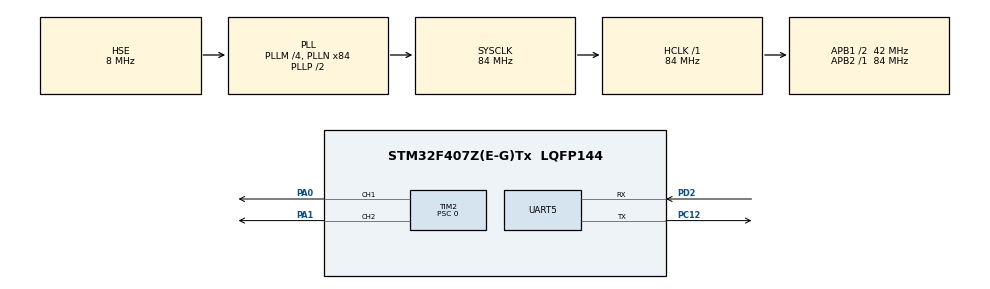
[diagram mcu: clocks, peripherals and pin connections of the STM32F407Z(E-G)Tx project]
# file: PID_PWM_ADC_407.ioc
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Mcu.Family=STM32F4
Mcu.Name=STM32F407Z(E-G)Tx
Mcu.Package=LQFP144
NVIC.PriorityGroup=NVIC_PRIORITYGROUP_4
NVIC.UART5_IRQn=true\:0\:0\:false\:false\:true\:true\:true
PA0-WKUP.Signal=S_TIM2_CH1_ETR
PA1.Signal=S_TIM2_CH2
PC12.Mode=Asynchronous
PC12.Signal=UART5_TX
PD2.Mode=Asynchronous
PD2.Signal=UART5_RX
PH0-OSC_IN.Mode=HSE-External-Oscillator
PH0-OSC_IN.Signal=RCC_OSC_IN
PH1-OSC_OUT.Mode=HSE-External-Oscillator
PH1-OSC_OUT.Signal=RCC_OSC_OUT
ProjectManager.HeapSize=0x200
ProjectManager.StackSize=0x400
ProjectManager.TargetToolchain=MDK-ARM V5
RCC.48MHZClocksFreq_Value=42000000
RCC.AHBFreq_Value=84000000
RCC.APB1CLKDivider=RCC_HCLK_DIV2
RCC.APB1Freq_Value=42000000
RCC.APB1TimFreq_Value=84000000
RCC.APB2Freq_Value=84000000
RCC.APB2TimFreq_Value=84000000
RCC.CortexFreq_Value=84000000
RCC.HCLKFreq_Value=84000000
RCC.HSE_VALUE=8000000
RCC.HSI_VALUE=16000000
RCC.LSE_VALUE=32768
RCC.PLLM=4
RCC.PLLN=84
RCC.PLLSourceVirtual=RCC_PLLSOURCE_HSE
RCC.SYSCLKFreq_VALUE=84000000
RCC.SYSCLKSource=RCC_SYSCLKSOURCE_PLLCLK
RCC.VCOOutputFreq_Value=168000000
SH.S_TIM2_CH1_ETR.0=TIM2_CH1,PWM Generation1 CH1
SH.S_TIM2_CH2.0=TIM2_CH2,PWM Generation2 CH2
TIM2.AutoReloadPreload=TIM_AUTORELOAD_PRELOAD_ENABLE
TIM2.Channel-PWM\ Generation1\ CH1=TIM_CHANNEL_1
TIM2.Channel-PWM\ Generation2\ CH2=TIM_CHANNEL_2
TIM2.OCFastMode_PWM-PWM\ Generation2\ CH2=TIM_OCFAST_DISABLE
TIM2.Period=4199
TIM2.Prescaler=0
TIM2.Pulse-PWM\ Generation1\ CH1=2099
TIM2.Pulse-PWM\ Generation2\ CH2=2099
UART5.VirtualMode=Asynchronous
VP_TIM2_VS_ClockSourceINT.Mode=Internal
board=custom

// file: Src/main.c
/* USER CODE BEGIN Header */
/**
  ******************************************************************************
  * @file           : main.c
  * @brief          : Main program body
  ******************************************************************************
  * @attention
  *
  * <h2><center>&copy; Copyright (c) 2021 STMicroelectronics.
  * All rights reserved.</center></h2>
  *
  * This software component is licensed by ST under BSD 3-Clause license,
  * the "License"; You may not use this file except in compliance with the
  * License. You may obtain a copy of the License at:
  *                        opensource.org/licenses/BSD-3-Clause
  *
  ******************************************************************************
  */
/* USER CODE END Header */

#include "main.h"
#include "tim.h"
#include "usart.h"
#include "gpio.h"

void SystemClock_Config(void);

/* USER CODE BEGIN 0 */

#include <string.h>

#define RXBUFFERSIZE 256     //最大接收字节数
char RxBuffer[256];    //接收数据
uint8_t aRxBuffer;			//接收中断缓冲
uint8_t Uart1_Rx_Cnt = 0;		//接收缓冲计数

uint8_t freq_data[2]={0x08,0x33};
uint32_t freq_out;
/* USER CODE END 0 */

int main(void)
{

  /* MCU Configuration--------------------------------------------------------*/

  /* Reset of all peripherals, Initializes the Flash interface and the Systick. */
  HAL_Init();

  /* Configure the system clock */
  SystemClock_Config();

  /* Initialize all configured peripherals */
  MX_GPIO_Init();
  MX_UART5_Init();
  MX_TIM2_Init();
  /* USER CODE BEGIN 2 */
	HAL_TIM_PWM_Start(&htim2,TIM_CHANNEL_2);
	HAL_TIM_PWM_Start(&htim2,TIM_CHANNEL_1);
	freq_out=freq_data[0]*256+freq_data[1];
  TIM2->CCR1=freq_out;
	HAL_UART_Receive_IT(&huart5,(uint8_t *)&freq_data,2);
  /* USER CODE END 2 */

  /* Infinite loop */
  while (1)
  {

  }
}

void SystemClock_Config(void)
{
  RCC_OscInitTypeDef RCC_OscInitStruct = {0};
  RCC_ClkInitTypeDef RCC_ClkInitStruct = {0};

  /** Configure the main internal regulator output voltage
  */
  __HAL_RCC_PWR_CLK_ENABLE();
  __HAL_PWR_VOLTAGESCALING_CONFIG(PWR_REGULATOR_VOLTAGE_SCALE1);
  /** Initializes the CPU, AHB and APB busses clocks
  */
  RCC_OscInitStruct.OscillatorType = RCC_OSCILLATORTYPE_HSE;
  RCC_OscInitStruct.HSEState = RCC_HSE_ON;
  RCC_OscInitStruct.PLL.PLLState = RCC_PLL_ON;
  RCC_OscInitStruct.PLL.PLLSource = RCC_PLLSOURCE_HSE;
  RCC_OscInitStruct.PLL.PLLM = 4;
  RCC_OscInitStruct.PLL.PLLN = 84;
  RCC_OscInitStruct.PLL.PLLP = RCC_PLLP_DIV2;
  RCC_OscInitStruct.PLL.PLLQ = 4;
  if (HAL_RCC_OscConfig(&RCC_OscInitStruct) != HAL_OK)
  {
    Error_Handler();
  }
  /** Initializes the CPU, AHB and APB busses clocks
  */
  RCC_ClkInitStruct.ClockType = RCC_CLOCKTYPE_HCLK|RCC_CLOCKTYPE_SYSCLK
                              |RCC_CLOCKTYPE_PCLK1|RCC_CLOCKTYPE_PCLK2;
  RCC_ClkInitStruct.SYSCLKSource = RCC_SYSCLKSOURCE_PLLCLK;
  RCC_ClkInitStruct.AHBCLKDivider = RCC_SYSCLK_DIV1;
  RCC_ClkInitStruct.APB1CLKDivider = RCC_HCLK_DIV2;
  RCC_ClkInitStruct.APB2CLKDivider = RCC_HCLK_DIV1;

  if (HAL_RCC_ClockConfig(&RCC_ClkInitStruct, FLASH_LATENCY_2) != HAL_OK)
  {
    Error_Handler();
  }
}

/* USER CODE BEGIN 4 */
void HAL_UART_RxCpltCallback(UART_HandleTypeDef *huart)
{
  UNUSED(huart);
	if(huart == &huart5){
	freq_out=freq_data[0]*256+freq_data[1];
	TIM2->CCR1=freq_out;
	HAL_UART_Receive_IT(&huart5, (uint8_t *)&freq_data, 2);   //再开启接收中断
	}

}
/* USER CODE END 4 */

void Error_Handler(void)
{
}

/************************ (C) COPYRIGHT STMicroelectronics *****END OF FILE****/
